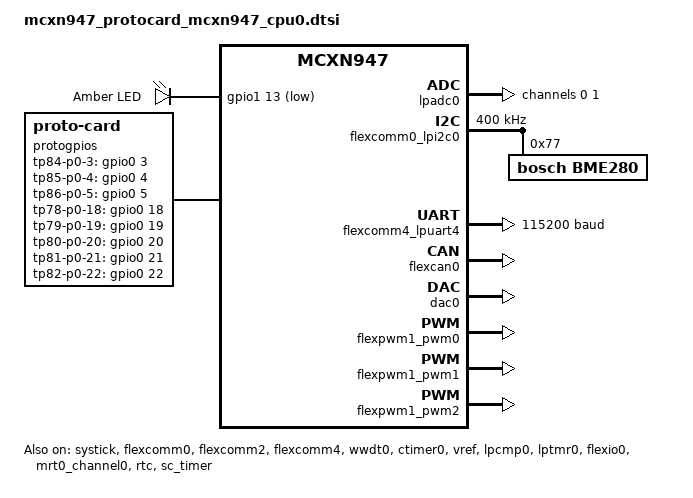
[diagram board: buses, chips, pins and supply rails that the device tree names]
/*
 * Copyright 2024 NXP
 *
 * SPDX-License-Identifier: Apache-2.0
 */

/* Common dts file to enable supported features for CPU 0.
 * This file is included by both the default variant
 * which is run from internal flash and the QSPI variant.
 */
/dts-v1/;

#include <nxp/nxp_mcxn94x.dtsi>

#include <zephyr/dt-bindings/adc/adc.h>
#include <zephyr/dt-bindings/adc/mcux-lpadc.h>
#include <zephyr/dt-bindings/i2c/i2c.h>
#include <zephyr/dt-bindings/spi/spi.h>
#include <zephyr/dt-bindings/gpio/gpio.h>
#include <zephyr/dt-bindings/gpio/nxp-kinetis-gpio.h>
#include <zephyr/dt-bindings/pwm/pwm.h>

/ {
	cpus {
		/delete-node/ cpu@1;
	};

	oresat_demo: oresat-demo-enabled {}; /* Enable demos for supported boards */

	chosen {
		zephyr,sram = &sram0;
		zephyr,flash = &flash;
		zephyr,flash-controller = &fmu;
		zephyr,code-partition = &slot0_partition;
		zephyr,uart-mcumgr = &flexcomm4_lpuart4;
		zephyr,console = &flexcomm4_lpuart4;
		zephyr,shell-uart = &flexcomm4_lpuart4;
		zephyr,canbus = &flexcan0;
		zephyr,code-cpu1-partition = &slot1_partition;
	};

	aliases {
		led0 = &amber_led;
		watchdog0 = &wwdt0;
		rtc = &rtc;
		adc0 = &lpadc0;
	};

	leds {
		compatible = "gpio-leds";
		amber_led: led_0 {
			gpios = <&gpio1 13 GPIO_ACTIVE_LOW>;
			label = "Amber LED";
			status = "okay";
		};
	};

	zephyr,user {
		dac = <&dac0>;
		dac-channel-id = <0>;
		dac-resolution = <12>;
		status = "okay";
	};

	protogpios: proto-gpios {
		compatible = "proto-card";
		/* These are all the I/O lines not allocated to various peripherals below */
		tp84-p0-3-gpios = <&gpio0 3 GPIO_PULL_DOWN>;
		tp85-p0-4-gpios = <&gpio0 4 GPIO_PULL_DOWN>;
		tp86-p0-5-gpios = <&gpio0 5 GPIO_PULL_DOWN>;
		tp78-p0-18-gpios = <&gpio0 18 GPIO_PULL_DOWN>;
		tp79-p0-19-gpios = <&gpio0 19 GPIO_PULL_DOWN>;
		tp80-p0-20-gpios = <&gpio0 20 GPIO_PULL_DOWN>;
		tp81-p0-21-gpios = <&gpio0 21 GPIO_PULL_DOWN>;
		tp82-p0-22-gpios = <&gpio0 22 GPIO_PULL_DOWN>;
		tp83-p0-23-gpios = <&gpio0 23 GPIO_PULL_DOWN>;
		tp68-p1-0-gpios = <&gpio1 0 GPIO_PULL_DOWN>;
		tp69-p1-1-gpios = <&gpio1 1 GPIO_PULL_DOWN>;
		tp70-p1-2-gpios = <&gpio1 2 GPIO_PULL_DOWN>;
		tp71-p1-3-gpios = <&gpio1 3 GPIO_PULL_DOWN>;
		tp72-p1-4-gpios = <&gpio1 4 GPIO_PULL_DOWN>;
		tp73-p1-5-gpios = <&gpio1 5 GPIO_PULL_DOWN>;
		tp74-p1-6-gpios = <&gpio1 6 GPIO_PULL_DOWN>;
		tp75-p1-7-gpios = <&gpio1 7 GPIO_PULL_DOWN>;
		tp5-p1-12-gpios = <&gpio1 12 GPIO_PULL_DOWN>;
		tp7-p1-14-gpios = <&gpio1 14 GPIO_PULL_DOWN>;
		tp8-p1-15-gpios = <&gpio1 15 GPIO_PULL_DOWN>;
		tp9-p2-0-gpios = <&gpio2 0 GPIO_PULL_DOWN>;
		tp10-p2-1-gpios = <&gpio2 1 GPIO_PULL_DOWN>;
		tp52-p3-1-gpios = <&gpio3 1 GPIO_PULL_DOWN>;
		tp60-p3-12-gpios = <&gpio3 12 GPIO_PULL_DOWN>;
		tp59-p3-13-gpios = <&gpio3 13 GPIO_PULL_DOWN>;
		tp58-p3-14-gpios = <&gpio3 14 GPIO_PULL_DOWN>;
		tp57-p3-15-gpios = <&gpio3 15 GPIO_PULL_DOWN>;
		tp56-p3-16-gpios = <&gpio3 16 GPIO_PULL_DOWN>;
		tp55-p3-17-gpios = <&gpio3 17 GPIO_PULL_DOWN>;
		tp62-p3-20-gpios = <&gpio3 20 GPIO_PULL_DOWN>;
		tp63-p3-21-gpios = <&gpio3 21 GPIO_PULL_DOWN>;
		tp29-p4-1-gpios = <&gpio4 1 GPIO_PULL_DOWN>;
		tp27-p4-3-gpios = <&gpio4 3 GPIO_PULL_DOWN>;
		tp26-p4-4-gpios = <&gpio4 4 GPIO_PULL_DOWN>;
		tp25-p4-5-gpios = <&gpio4 5 GPIO_PULL_DOWN>;
		tp22-p4-6-gpios = <&gpio4 6 GPIO_PULL_DOWN>;
		tp20-p4-7-gpios = <&gpio4 7 GPIO_PULL_DOWN>;
		tp41-p4-19-gpios = <&gpio4 19 GPIO_PULL_DOWN>;
		tp64-p5-0-gpios = <&gpio5 0 GPIO_PULL_DOWN>;
		tp65-p5-1-gpios = <&gpio5 1 GPIO_PULL_DOWN>;
		tp66-p5-2-gpios = <&gpio5 2 GPIO_PULL_DOWN>;
		tp67-p5-3-gpios = <&gpio5 3 GPIO_PULL_DOWN>;
	};
};

&systick {
	status = "okay";
};

&lpadc0 {
	pinctrl-0 = <&pinmux_lpadc0>;
	pinctrl-names = "default";

	#address-cells = <1>;
	#size-cells = <0>;
	status = "okay";

	lpadc0_0: channel@0 {
		reg = <0>;
		zephyr,gain = "ADC_GAIN_1";
		zephyr,reference = "ADC_REF_EXTERNAL0";
		zephyr,vref-mv = <3300>;
		zephyr,acquisition-time = <ADC_ACQ_TIME(ADC_ACQ_TIME_MICROSECONDS,2)>;
		zephyr,resolution = <12>;
		zephyr,oversampling = <5>;
		zephyr,input-positive = <MCUX_LPADC_CH0A>;
		/delete-property/ zephyr,differential;
	};
	lpadc0_1: channel@1 {
		reg = <1>;
		zephyr,gain = "ADC_GAIN_1";
		zephyr,reference = "ADC_REF_EXTERNAL0";
		zephyr,vref-mv = <3300>;
		zephyr,acquisition-time = <ADC_ACQ_TIME(ADC_ACQ_TIME_MICROSECONDS,2)>;
		zephyr,resolution = <12>;
		 zephyr,oversampling = <5>;
		zephyr,input-positive = <MCUX_LPADC_CH1A>;
		 /delete-property/ zephyr,differential;
	};
/***************************
 Internal temperature sensor
 channel is disabled here
 due to bus fault -- requires
 debugging.
 ***************************/
/*	lpadc0_26: channel@1a {
		reg = <26>;
		zephyr,gain = "ADC_GAIN_1";
		zephyr,reference = "ADC_REF_EXTERNAL0";
		zephyr,vref-mv = <3300>;
		zephyr,acquisition-time = <ADC_ACQ_TIME(ADC_ACQ_TIME_MICROSECONDS,2)>;
		zephyr,resolution = <16>;
		zephyr,oversampling = <7>;
		zephyr,input-positive = <MCUX_LPADC_CH26A>;
		zephyr,input-negative = <MCUX_LPADC_CH26B>;
		zephyr,differential;
	}; */
};

/*
 * Default for this board is to allocate SRAM0-5 to cpu0 but the
 * application can have an application specific device tree to
 * allocate the SRAM0-7 differently.
 *
 * For example, SRAM0-6 could be allocated to cpu0 with only SRAM7
 * for cpu1. This would require the value of sram0 to have a DT_SIZE_K
 * of 384. You would have to make updates to cpu1 sram settings as well.
 */
&sram0 {
	compatible = "mmio-sram";
	reg = <0x20000000 DT_SIZE_K(320)>;
};

&sram {
	sramg: memory@20050000 {
		compatible = "mmio-sram";
		reg = <0x20050000 DT_SIZE_K(64)>;
	};
	sramh: memory@20060000 {
		compatible = "mmio-sram";
		reg = <0x20060000 DT_SIZE_K(32)>;
	};
};

&flash {
	partitions {
		compatible = "fixed-partitions";
		#address-cells = <1>;
		#size-cells = <1>;

		/*
		 * Partition sizes must be aligned
		 * to the flash memory sector size of 8KB.
		 */
		boot_partition: partition@0 {
			label = "mcuboot";
			reg = <0x00000000 DT_SIZE_K(80)>;
		};
		slot0_partition: partition@14000 {
			label = "image-0";
			reg = <0x00014000 DT_SIZE_K(968)>;
		};
		slot1_partition: partition@10A000 {
			label = "image-1";
			reg = <0x0010A000 DT_SIZE_K(968)>;
		};
		storage_partition: partition@1fc000 {
			label = "storage";
			reg = <0x001fc000 DT_SIZE_K(16)>;
		};
	};
};

&mbox {
	status = "okay";
};

&gpio0 {
	status = "okay";
};

&gpio1 {
	status = "okay";
};

&gpio2 {
	status = "okay";
};

&gpio3 {
	status = "okay";
};

&gpio4 {
	status = "okay";
};

&gpio5 {
	status = "okay";
};

&edma0 {
	status = "okay";
};

&flexcomm0 {
	status = "okay";
};

&flexcomm0_lpi2c0 {
	pinctrl-0 = <&pinmux_flexcomm0_lpi2c>;
	pinctrl-names = "default";
	clock-frequency = <I2C_BITRATE_FAST>;
	status = "okay";

	/* Add I2C target devices here, for example:
	tmp101_cell1: tmp101@48 {
		compatible = "ti,tmp101";
		reg = <0x48>;
		status = "okay";
	};
	*/
	bme280: bme280@77 {
		compatible = "bosch,bme280";
		reg = <0x77>;
        status = "okay";
	};
};

&flexcomm2 {
	status = "okay";
};

/* SPI available on port4 (SDO, SCK, SDI, and 4 CS lines) */
&flexcomm2_lpspi2 {
	pinctrl-0 = <&pinmux_flexcomm2_lpspi>;
	pinctrl-names = "default";
	status = "disabled"; /* change to okay to enable */
};

&flexcomm4 {
	status = "okay";
};

&flexcomm4_lpuart4 {
	current-speed = <115200>;
	pinctrl-0 = <&pinmux_flexcomm4_lpuart>;
	pinctrl-names = "default";
	status = "okay";
};

&flexcan0 {
	pinctrl-0 = <&pinmux_flexcan0>;
	pinctrl-names = "default";
	status = "okay";
};

&dac0 {
	pinctrl-0 = <&pinmux_dac0>;
	pinctrl-names = "default";
	status = "okay";
};

&wwdt0 {
	status = "okay";
};

/* flexspi can be used for external SPI flash or RAM */
&flexspi {
	pinctrl-0 = <&pinmux_flexspi>;
	pinctrl-names = "default";
	ahb-prefetch;
	ahb-bufferable;
	ahb-cacheable;
	ahb-read-addr-opt;
	combination-mode;
	rx-clock-source = <1>;
	status = "disabled"; /* change to okay to enable */
};

&flexpwm1_pwm0 {
	pinctrl-0 = <&pinmux_flexpwm1_pwm0>;
	pinctrl-names = "default";
	status = "okay";
};

&flexpwm1_pwm1 {
	pinctrl-0 = <&pinmux_flexpwm1_pwm1>;
	pinctrl-names = "default";
	status = "okay";
};

&flexpwm1_pwm2 {
	pinctrl-0 = <&pinmux_flexpwm1_pwm2>;
	pinctrl-names = "default";
	status = "okay";
};

&ctimer0 {
	status = "okay";
};

&vref {
	status = "okay";
};

&lpcmp0 {
	pinctrl-0 = <&pinmux_lpcmp0>;
	pinctrl-names = "default";
	status = "okay";
};

&lptmr0 {
	status = "okay";
};

&flexio0 {
	status = "okay";
};

&mrt0_channel0 {
	status = "okay";
};

&rtc {
	status = "okay";
};

&sc_timer {
	pinctrl-0 = <&pinmux_sctimer>;
	pinctrl-names = "default";
	status = "okay";
};

&enet {
	status = "disabled";
};

//temp0: temp0 {
//	compatible = "nxp,kinetis-temperature";
//	io-channels = <&adc0 26>, <&adc0 27>;
//	io-channel-names = "SENSOR", "BANDGAP";
//	bandgap-voltage = <1000000>;
//   /* Not sure this works with the MCXN947. The datasheet does not
//      provide the Vtemp25 or slope constants, unlike for the KE1XF
//      or MCXC. Numbers provided are similar but named different
//	   for Vtemp25, which the MCXN calls Slope Factor Constant,
//	   and instead of "sensor slope cold/hot", we get Offset Constant
//	   and Bandgap Constant.
//	   Those raw values are 771, 302, 10.06.
//	   The KE1XF and MCXC datasheets show Vtemp25 740.5, slopes both
//	   1.564; and 716, 1.62, so conversions to the below device
//	   tree values are Vtemp25 datasheet * 1000 and sensor slope
//	   datasheet * 1000 as well.  */
//	vtemp25 = <740500>;
//	sensor-slope-cold = <1564>;
//	sensor-slope-hot = <1564>;
//	status = "disabled";
//};

